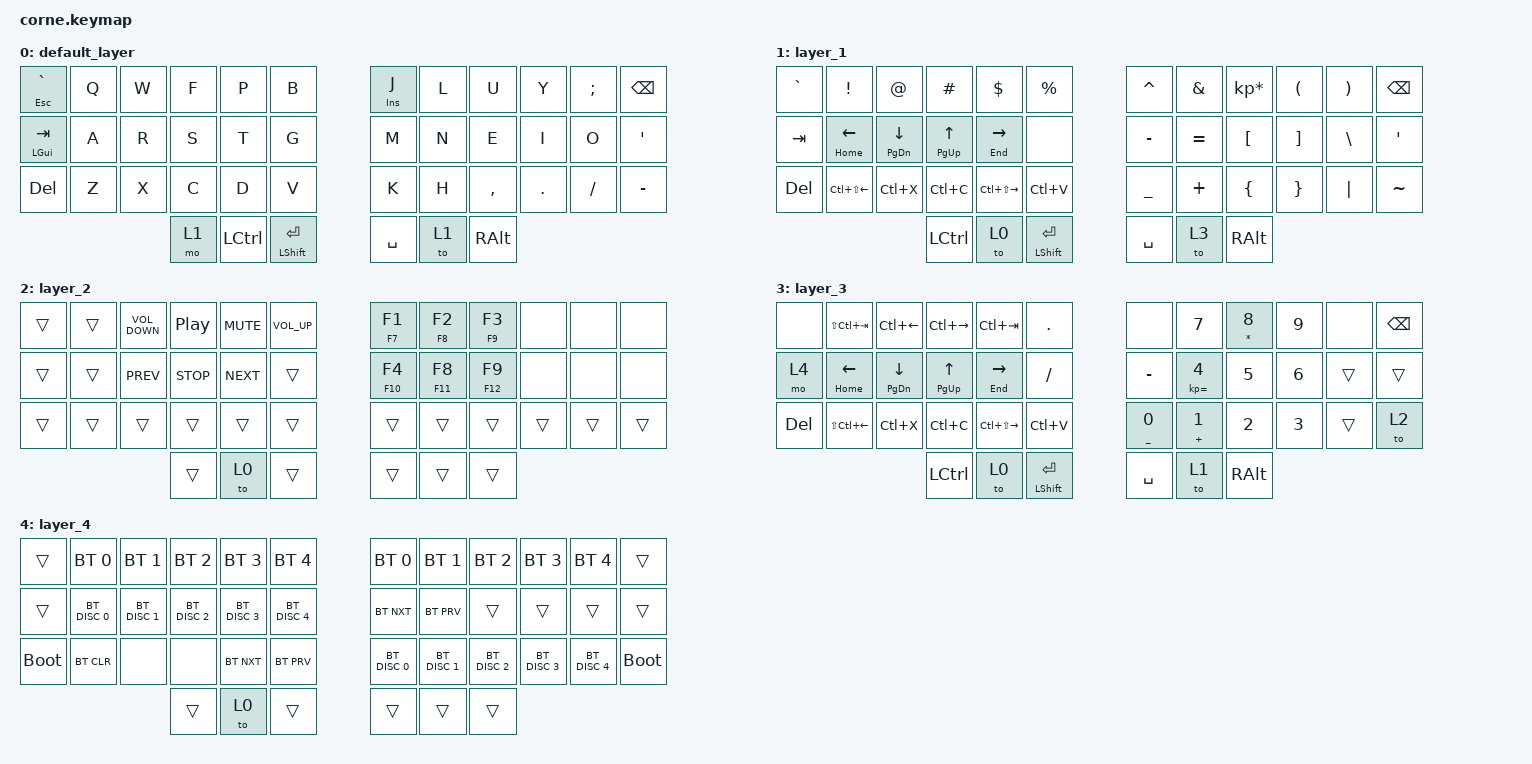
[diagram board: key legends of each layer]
/*
 * Copyright (c) 2020 The ZMK Contributors
 *
 * SPDX-License-Identifier: MIT
 */

#include <behaviors.dtsi>
#include <dt-bindings/zmk/bt.h>
#include <dt-bindings/zmk/keys.h>

&mt { flavor = "tap-preferred"; };

/ {
    behaviors {
        td: td {
            compatible = "zmk,behavior-hold-tap";
            label = "TAPDANCE";
            bindings = <&kp>, <&kp>;

            #binding-cells = <2>;
            tapping-term-ms = <150>;
            quick-tap-ms = <0>;
            flavor = "tap-preferred";
        };
    };

    keymap {
        compatible = "zmk,keymap";

        default_layer {
            // -----------------------------------------------------------------------------------------
            // |  TAB |  Q  |  W  |  E  |  R  |  T  |   |  Y  |  U   |  I  |  O  |  P  | BKSP |
            // | CTRL |  A  |  S  |  D  |  F  |  G  |   |  H  |  J   |  K  |  L  |  ;  |  '   |
            // | SHFT |  Z  |  X  |  C  |  V  |  B  |   |  N  |  M   |  ,  |  .  |  /  | ESC  |
            //                    | GUI | LWR | SPC |   | ENT | RSE  | ALT |

            bindings = <
&mt ESCAPE GRAVE  &kp Q  &kp W  &kp F  &kp P      &kp B                   &mt INSERT J  &kp L  &kp U      &kp Y    &kp SEMICOLON  &kp BSPC
&mt LEFT_GUI TAB  &kp A  &kp R  &kp S  &kp T      &kp G                   &kp M         &kp N  &kp E      &kp I    &kp O          &kp SQT
&kp DEL           &kp Z  &kp X  &kp C  &kp D      &kp V                   &kp K         &kp H  &kp COMMA  &kp DOT  &kp FSLH       &kp MINUS
                                &mo 1  &kp LCTRL  &mt LEFT_SHIFT ENTER    &kp SPACE     &to 1  &kp RALT
            >;
        };

        layer_1 {
            // -----------------------------------------------------------------------------------------
            // |  TAB |  !  |  @  |  #  |  $  |  %  |   |  ^  |  &  |  *  |  (  |  )  | BKSP |
            // | CTRL |     |     |     |     |     |   |  -  |  =  |  [  |  ]  |  \  |  `   |
            // | SHFT |     |     |     |     |     |   |  _  |  +  |  {  |  }  | "|" |  ~   |
            //                    | GUI |     | SPC |   | ENT |     | ALT |

            bindings = <
&kp GRAVE  &kp EXCL                &kp AT                    &kp HASH              &kp DLLR           &kp PRCNT               &kp CARET  &kp AMPS   &kp KP_MULTIPLY  &kp LPAR  &kp RPAR  &kp BSPC
&kp TAB    &mt HOME LEFT           &mt PAGE_DOWN DOWN_ARROW  &mt PAGE_UP UP_ARROW  &mt END RIGHT      &none                   &kp MINUS  &kp EQUAL  &kp LBKT         &kp RBKT  &kp BSLH  &kp SQT
&kp DEL    &kp LC(LS(LEFT_ARROW))  &kp LC(X)                 &kp LC(C)             &kp LC(LS(RIGHT))  &kp LC(V)               &kp UNDER  &kp PLUS   &kp LBRC         &kp RBRC  &kp PIPE  &kp TILDE
                                                             &kp LCTRL             &to 0              &mt LEFT_SHIFT ENTER    &kp SPACE  &to 3      &kp RALT
            >;
        };

        layer_2 {
            bindings = <
&trans  &trans  &kp C_VOLUME_DOWN  &kp C_PLAY_PAUSE  &kp C_MUTE  &kp C_VOLUME_UP    &mt F7 F1   &mt F8 F2   &mt F9 F3   &none   &none   &none
&trans  &trans  &kp C_PREV         &kp C_STOP        &kp C_NEXT  &trans             &mt F10 F4  &mt F11 F8  &mt F12 F9  &none   &none   &none
&trans  &trans  &trans             &trans            &trans      &trans             &trans      &trans      &trans      &trans  &trans  &trans
                                   &trans            &to 0       &trans             &trans      &trans      &trans
            >;
        };

        layer_3 {
            // -----------------------------------------------------------------------------------------
            // |  TAB |  1  |  2  |  3  |  4  |  5  |   |  6  |  7  |  8  |  9  |  0  | BKSP |
            // | BTCLR| BT1 | BT2 | BT3 | BT4 | BT5 |   | LFT | DWN |  UP | RGT |     |      |
            // | SHFT |     |     |     |     |     |   |     |     |     |     |     |      |
            //                    | GUI |     | SPC |   | ENT |     | ALT |

            bindings = <
&none       &kp LS(LC(TAB))   &kp LC(LEFT)        &kp LC(RIGHT)         &kp LC(TAB)              &kp PERIOD              &none         &kp N7                 &mt ASTERISK N8  &kp N9        &none   &kp BSPC
&mo 4       &mt HOME LEFT     &mt PAGE_DOWN DOWN  &mt PAGE_UP UP_ARROW  &mt END RIGHT            &kp SLASH               &kp MINUS     &mt KP_EQUAL NUMBER_4  &kp N5           &kp NUMBER_6  &trans  &trans
&kp DELETE  &kp LS(LC(LEFT))  &kp LC(X)           &kp LC(C)             &kp LC(LS(RIGHT_ARROW))  &kp LC(V)               &mt UNDER N0  &mt PLUS NUMBER_1      &kp NUMBER_2     &kp NUMBER_3  &trans  &to 2
                                                  &kp LCTRL             &to 0                    &mt LEFT_SHIFT ENTER    &kp SPACE     &to 1                  &kp RALT
            >;
        };

        layer_4 {
            bindings = <
&trans       &bt BT_SEL 0   &bt BT_SEL 1   &bt BT_SEL 2   &bt BT_SEL 3   &bt BT_SEL 4     &bt BT_SEL 0   &bt BT_SEL 1   &bt BT_SEL 2   &bt BT_SEL 3   &bt BT_SEL 4   &trans
&trans       &bt BT_DISC 0  &bt BT_DISC 1  &bt BT_DISC 2  &bt BT_DISC 3  &bt BT_DISC 4    &bt BT_NXT     &bt BT_PRV     &trans         &trans         &trans         &trans
&bootloader  &bt BT_CLR     &none          &none          &bt BT_NXT     &bt BT_PRV       &bt BT_DISC 0  &bt BT_DISC 1  &bt BT_DISC 2  &bt BT_DISC 3  &bt BT_DISC 4  &bootloader
                                           &trans         &to 0          &trans           &trans         &trans         &trans
            >;
        };
    };
};
